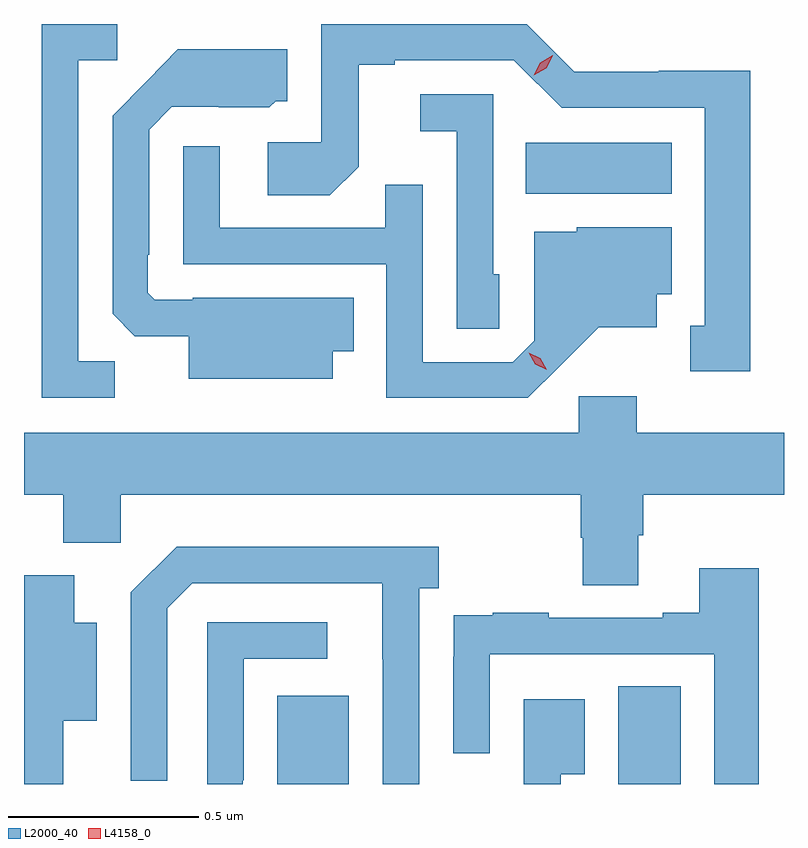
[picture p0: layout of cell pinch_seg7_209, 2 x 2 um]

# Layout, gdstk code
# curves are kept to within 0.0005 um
import gdstk
lib = gdstk.Library(unit=1e-6, precision=1e-09)
def R(c, l, rs):  # rectangles x0, y0, x1, y1
    for r in rs: c.add(gdstk.rectangle(r[:2], r[2:], *l))
def P(c, l, *ps):  # polygons
    for p in ps: c.add(gdstk.Polygon(p, *l))
L2000_40 = (2000, 40)
L4158_0 = (4158, 0)

pinch_seg7_209 = lib.new_cell('pinch_seg7_209')
R(pinch_seg7_209, L2000_40, [(1078.661,1001.187,1078.849,1001.419), (1079.558,1001.187,1079.722,1001.444), (1079.314,1002.74,1079.698,1002.874)])
P(pinch_seg7_209, L2000_40, [(1079.905,1003.064),(1079.664,1003.064),(1079.664,1003.062),(1079.442,1003.062),(1079.317,1003.187),(1078.776,1003.187),(1078.776,1002.876),(1078.635,1002.876),(1078.635,1002.736),(1078.799,1002.736),(1078.875,1002.812),(1078.875,1003.08),(1078.969,1003.08),(1078.969,1003.092),(1079.283,1003.092),(1079.409,1002.966),(1079.786,1002.966),(1079.786,1002.393),(1079.747,1002.393),(1079.747,1002.273),(1079.905,1002.273)],
  [(1078.233,1002.299),(1078.137,1002.299),(1078.137,1003.092),(1078.24,1003.092),(1078.24,1003.187),(1078.041,1003.187),(1078.041,1002.204),(1078.233,1002.204)],
  [(1078.807,1002.326),(1078.862,1002.326),(1078.862,1002.466),(1078.438,1002.466),(1078.438,1002.462),(1078.338,1002.462),(1078.32,1002.48),(1078.32,1002.58),(1078.323,1002.58),(1078.323,1002.909),(1078.383,1002.969),(1078.506,1002.969),(1078.506,1002.968),(1078.64,1002.968),(1078.656,1002.984),(1078.687,1002.984),(1078.687,1003.12),(1078.399,1003.12),(1078.227,1002.946),(1078.227,1002.424),(1078.286,1002.365),(1078.427,1002.365),(1078.427,1002.254),(1078.807,1002.254)],
  [(1079.244,1002.528),(1079.229,1002.528),(1079.229,1003.002),(1079.037,1003.002),(1079.037,1002.905),(1079.133,1002.905),(1079.133,1002.385),(1079.244,1002.385)],
  [(1079.404,1002.287),(1079.507,1002.389),(1079.659,1002.389),(1079.659,1002.476),(1079.698,1002.476),(1079.698,1002.652),(1079.448,1002.652),(1079.448,1002.64),(1079.337,1002.64),(1079.337,1002.354),(1079.28,1002.297),(1079.043,1002.297),(1079.043,1002.764),(1078.945,1002.764),(1078.945,1002.651),(1078.509,1002.651),(1078.509,1002.865),(1078.413,1002.865),(1078.413,1002.555),(1078.947,1002.555),(1078.947,1002.204),(1079.32,1002.204)],
  [(1079.611,1001.842),(1079.624,1001.842),(1079.624,1001.948),(1079.994,1001.948),(1079.994,1002.112),(1079.606,1002.112),(1079.606,1002.208),(1079.454,1002.208),(1079.454,1002.112),(1077.994,1002.112),(1077.994,1001.948),(1078.097,1001.948),(1078.097,1001.822),(1078.248,1001.822),(1078.248,1001.948),(1079.459,1001.948),(1079.459,1001.835),(1079.464,1001.835),(1079.464,1001.71),(1079.611,1001.71)],
  [(1079.034,1001.702),(1079.086,1001.702),(1079.086,1001.812),(1078.396,1001.812),(1078.275,1001.691),(1078.275,1001.196),(1078.371,1001.196),(1078.371,1001.649),(1078.437,1001.715),(1078.937,1001.715),(1078.937,1001.515),(1078.938,1001.515),(1078.938,1001.187),(1079.034,1001.187)],
  [(1079.927,1001.755),(1079.771,1001.755),(1079.771,1001.638),(1079.675,1001.638),(1079.675,1001.625),(1079.375,1001.625),(1079.375,1001.638),(1079.227,1001.638),(1079.227,1001.631),(1079.125,1001.631),(1079.125,1001.522),(1079.124,1001.522),(1079.124,1001.268),(1079.22,1001.268),(1079.22,1001.529),(1079.811,1001.529),(1079.811,1001.187),(1079.927,1001.187)],
  [(1078.097,1001.354),(1078.186,1001.354),(1078.186,1001.611),(1078.126,1001.611),(1078.126,1001.737),(1077.994,1001.737),(1077.994,1001.187),(1078.097,1001.187)],
  [(1078.569,1001.197),(1078.572,1001.197),(1078.572,1001.517),(1078.792,1001.517),(1078.792,1001.613),(1078.476,1001.613),(1078.476,1001.187),(1078.569,1001.187)],
  [(1079.407,1001.213),(1079.47,1001.213),(1079.47,1001.41),(1079.309,1001.41),(1079.309,1001.187),(1079.407,1001.187)])
P(pinch_seg7_209, L4158_0, [(1079.336,1003.052),(1079.336,1003.052),(1079.353,1003.085),(1079.385,1003.105),(1079.385,1003.105),(1079.385,1003.104),(1079.368,1003.071),(1079.336,1003.052)],
  [(1079.369,1002.277),(1079.339,1002.292),(1079.322,1002.322),(1079.322,1002.322),(1079.322,1002.322),(1079.353,1002.307),(1079.37,1002.277),(1079.37,1002.277)])

lib.write_gds('pinch_seg7_209.gds')
